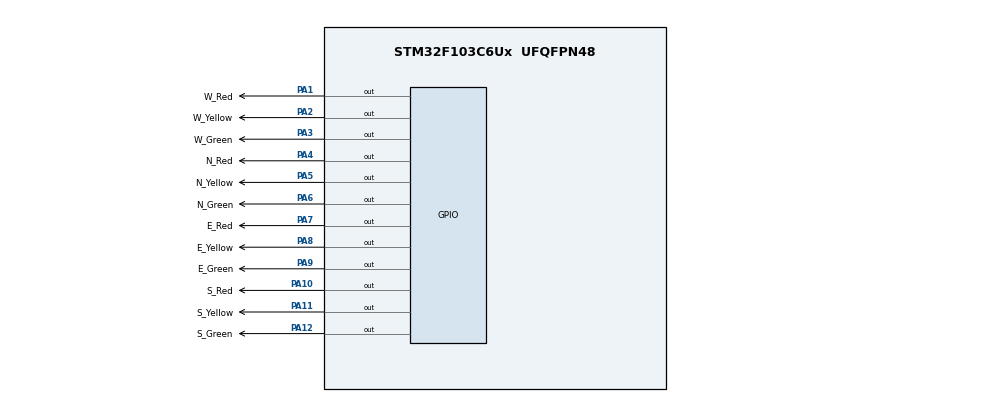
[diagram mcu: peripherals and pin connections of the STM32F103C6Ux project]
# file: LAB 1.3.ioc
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Mcu.Family=STM32F1
Mcu.Name=STM32F103C6Ux
Mcu.Package=UFQFPN48
NVIC.PriorityGroup=NVIC_PRIORITYGROUP_4
PA1.GPIO_Label=W_Red
PA1.Signal=GPIO_Output
PA10.GPIO_Label=S_Red
PA10.Signal=GPIO_Output
PA11.GPIO_Label=S_Yellow
PA11.Signal=GPIO_Output
PA12.GPIO_Label=S_Green
PA12.Signal=GPIO_Output
PA2.GPIO_Label=W_Yellow
PA2.Signal=GPIO_Output
PA3.GPIO_Label=W_Green
PA3.Signal=GPIO_Output
PA4.GPIO_Label=N_Red
PA4.Signal=GPIO_Output
PA5.GPIO_Label=N_Yellow
PA5.Signal=GPIO_Output
PA6.GPIO_Label=N_Green
PA6.Signal=GPIO_Output
PA7.GPIO_Label=E_Red
PA7.Signal=GPIO_Output
PA8.GPIO_Label=E_Yellow
PA8.Signal=GPIO_Output
PA9.GPIO_Label=E_Green
PA9.Signal=GPIO_Output
ProjectManager.HeapSize=0x200
ProjectManager.StackSize=0x400
ProjectManager.TargetToolchain=STM32CubeIDE
RCC.APB1Freq_Value=8000000
RCC.APB2Freq_Value=8000000
VP_SYS_VS_ND.Mode=No_Debug
board=custom

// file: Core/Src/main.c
/* USER CODE BEGIN Header */
/**
  ******************************************************************************
  * @file           : main.c
  * @brief          : Main program body
  ******************************************************************************
  * @attention
  *
  * <h2><center>&copy; Copyright (c) 2025 STMicroelectronics.
  * All rights reserved.</center></h2>
  *
  * This software component is licensed by ST under BSD 3-Clause license,
  * the "License"; You may not use this file except in compliance with the
  * License. You may obtain a copy of the License at:
  *                        opensource.org/licenses/BSD-3-Clause
  *
  ******************************************************************************
  */
/* USER CODE END Header */
#include "main.h"

void SystemClock_Config(void);
static void MX_GPIO_Init(void);

int main(void)
{

  /* MCU Configuration--------------------------------------------------------*/

  /* Reset of all peripherals, Initializes the Flash interface and the Systick. */
  HAL_Init();

  /* Configure the system clock */
  SystemClock_Config();

  /* Initialize all configured peripherals */
  MX_GPIO_Init();
  /* USER CODE BEGIN 2 */
 int count = 0;
 	HAL_GPIO_WritePin(N_Red_GPIO_Port, N_Red_Pin, RESET);
 	HAL_GPIO_WritePin(S_Red_GPIO_Port, S_Red_Pin, RESET);
 	HAL_GPIO_WritePin(E_Red_GPIO_Port, E_Red_Pin, SET);
 	HAL_GPIO_WritePin(W_Red_GPIO_Port, W_Red_Pin, SET);
 	HAL_GPIO_WritePin(E_Green_GPIO_Port, E_Green_Pin, RESET);
 	HAL_GPIO_WritePin(W_Green_GPIO_Port, W_Green_Pin, RESET);
 	HAL_GPIO_WritePin(N_Yellow_GPIO_Port, N_Yellow_Pin, SET);
 	HAL_GPIO_WritePin(S_Yellow_GPIO_Port, S_Yellow_Pin, SET);
 	HAL_GPIO_WritePin(E_Yellow_GPIO_Port, E_Yellow_Pin, SET);
 	HAL_GPIO_WritePin(W_Yellow_GPIO_Port, W_Yellow_Pin, SET);
 	HAL_GPIO_WritePin(N_Green_GPIO_Port, N_Green_Pin, SET);
 	HAL_GPIO_WritePin(S_Green_GPIO_Port, S_Green_Pin, SET);
  /* USER CODE END 2 */

  /* Infinite loop */
  /* USER CODE BEGIN WHILE */
  while (1)
  {
	  if(count==5)
	      {
	          HAL_GPIO_WritePin(E_Green_GPIO_Port, E_Green_Pin, SET);
	          HAL_GPIO_WritePin(W_Green_GPIO_Port, W_Green_Pin, SET);

	          HAL_GPIO_WritePin(E_Yellow_GPIO_Port, E_Yellow_Pin, RESET);
	          HAL_GPIO_WritePin(W_Yellow_GPIO_Port, W_Yellow_Pin, RESET);
	      }

	      if (count == 7)
	      {
	          HAL_GPIO_WritePin(E_Yellow_GPIO_Port, E_Yellow_Pin, SET);
	          HAL_GPIO_WritePin(W_Yellow_GPIO_Port, W_Yellow_Pin, SET);
	          HAL_GPIO_WritePin(E_Red_GPIO_Port, E_Red_Pin, RESET);
	          HAL_GPIO_WritePin(W_Red_GPIO_Port, W_Red_Pin, RESET);

	          HAL_GPIO_WritePin(N_Red_GPIO_Port, N_Red_Pin, SET);
	          HAL_GPIO_WritePin(S_Red_GPIO_Port, S_Red_Pin, SET);
	          HAL_GPIO_WritePin(N_Green_GPIO_Port, N_Green_Pin, RESET);
	          HAL_GPIO_WritePin(S_Green_GPIO_Port, S_Green_Pin, RESET);
	      }

	      if (count == 12)
	      {
	          HAL_GPIO_WritePin(N_Green_GPIO_Port, N_Green_Pin, SET);
	          HAL_GPIO_WritePin(S_Green_GPIO_Port, S_Green_Pin, SET);

	          HAL_GPIO_WritePin(N_Yellow_GPIO_Port, N_Yellow_Pin,RESET);
	          HAL_GPIO_WritePin(S_Yellow_GPIO_Port, S_Yellow_Pin, RESET);
	      }

	      if (count == 14)
	      {
	          HAL_GPIO_WritePin(N_Yellow_GPIO_Port, N_Yellow_Pin, SET);
	          HAL_GPIO_WritePin(S_Yellow_GPIO_Port, S_Yellow_Pin,SET);
	          HAL_GPIO_WritePin(N_Red_GPIO_Port, N_Red_Pin,RESET);
	          HAL_GPIO_WritePin(S_Red_GPIO_Port, S_Red_Pin, RESET);

	          HAL_GPIO_WritePin(E_Red_GPIO_Port, E_Red_Pin,SET);
	          HAL_GPIO_WritePin(W_Red_GPIO_Port, W_Red_Pin, SET);
	          HAL_GPIO_WritePin(E_Green_GPIO_Port, E_Green_Pin,RESET);
	          HAL_GPIO_WritePin(W_Green_GPIO_Port, W_Green_Pin, RESET);

	          count = -1;
	      }

	      HAL_Delay(1000);
	      count++;

    /* USER CODE END WHILE */

  }
}

void SystemClock_Config(void)
{
  RCC_OscInitTypeDef RCC_OscInitStruct = {0};
  RCC_ClkInitTypeDef RCC_ClkInitStruct = {0};

  /** Initializes the RCC Oscillators according to the specified parameters
  * in the RCC_OscInitTypeDef structure.
  */
  RCC_OscInitStruct.OscillatorType = RCC_OSCILLATORTYPE_HSI;
  RCC_OscInitStruct.HSIState = RCC_HSI_ON;
  RCC_OscInitStruct.HSICalibrationValue = RCC_HSICALIBRATION_DEFAULT;
  RCC_OscInitStruct.PLL.PLLState = RCC_PLL_NONE;
  if (HAL_RCC_OscConfig(&RCC_OscInitStruct) != HAL_OK)
  {
    Error_Handler();
  }
  /** Initializes the CPU, AHB and APB buses clocks
  */
  RCC_ClkInitStruct.ClockType = RCC_CLOCKTYPE_HCLK|RCC_CLOCKTYPE_SYSCLK
                              |RCC_CLOCKTYPE_PCLK1|RCC_CLOCKTYPE_PCLK2;
  RCC_ClkInitStruct.SYSCLKSource = RCC_SYSCLKSOURCE_HSI;
  RCC_ClkInitStruct.AHBCLKDivider = RCC_SYSCLK_DIV1;
  RCC_ClkInitStruct.APB1CLKDivider = RCC_HCLK_DIV1;
  RCC_ClkInitStruct.APB2CLKDivider = RCC_HCLK_DIV1;

  if (HAL_RCC_ClockConfig(&RCC_ClkInitStruct, FLASH_LATENCY_0) != HAL_OK)
  {
    Error_Handler();
  }
}

static void MX_GPIO_Init(void)
{
  GPIO_InitTypeDef GPIO_InitStruct = {0};

  /* GPIO Ports Clock Enable */
  __HAL_RCC_GPIOA_CLK_ENABLE();

  /*Configure GPIO pin Output Level */
  HAL_GPIO_WritePin(GPIOA, W_Red_Pin|W_Yellow_Pin|W_Green_Pin|N_Red_Pin
                          |N_Yellow_Pin|N_Green_Pin|E_Red_Pin|E_Yellow_Pin
                          |E_Green_Pin|S_Red_Pin|S_Yellow_Pin|S_Green_Pin, GPIO_PIN_RESET);

  /*Configure GPIO pins : W_Red_Pin W_Yellow_Pin W_Green_Pin N_Red_Pin
                           N_Yellow_Pin N_Green_Pin E_Red_Pin E_Yellow_Pin
                           E_Green_Pin S_Red_Pin S_Yellow_Pin S_Green_Pin */
  GPIO_InitStruct.Pin = W_Red_Pin|W_Yellow_Pin|W_Green_Pin|N_Red_Pin
                          |N_Yellow_Pin|N_Green_Pin|E_Red_Pin|E_Yellow_Pin
                          |E_Green_Pin|S_Red_Pin|S_Yellow_Pin|S_Green_Pin;
  GPIO_InitStruct.Mode = GPIO_MODE_OUTPUT_PP;
  GPIO_InitStruct.Pull = GPIO_NOPULL;
  GPIO_InitStruct.Speed = GPIO_SPEED_FREQ_LOW;
  HAL_GPIO_Init(GPIOA, &GPIO_InitStruct);

}

void Error_Handler(void)
{
  __disable_irq();
  while (1)
  {
  }
}

/************************ (C) COPYRIGHT STMicroelectronics *****END OF FILE****/
